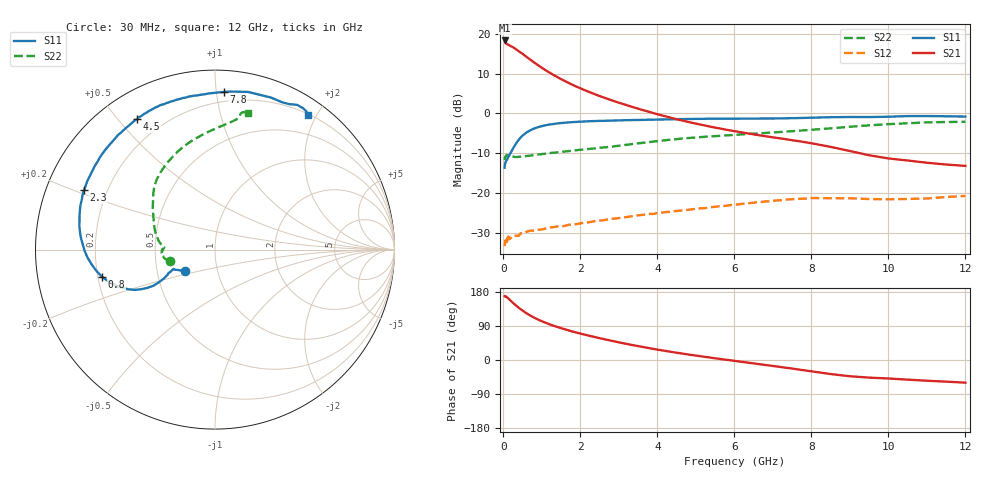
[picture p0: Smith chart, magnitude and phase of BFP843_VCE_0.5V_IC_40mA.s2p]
! Infineon Technologies  Discrete & RF Semiconductors
! BFP843
! VCE =  0.5 V,  IC =  40 mA
! Common Emitter S-Parameters:  Aug 2013
# GHz  S  MA  R  50
!  f  S11  S21  S12  S22
! GHz  MAG  ANG  MAG  ANG  MAG  ANG  MAG  ANG
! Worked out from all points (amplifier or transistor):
!   103 points, 30 MHz to 12 GHz, reference 50 ohm
!   highest |S21| = 18.4 dB at 30 MHz (marker M1)
!   |S21| within 3 dB of that: start of sweep to 441.9 MHz
!   unconditionally stable (mu >= 1): start of sweep to end of sweep
!   at 400 MHz: K = 2.21, MAG = 17.0 dB, |S12| = -30.8 dB
!   at 3.7 GHz: K = 2.43, MAG = 6.3 dB, |S12| = -25.4 dB
!   at 12 GHz: K = 2.13, MAG = -2.3 dB, |S12| = -20.8 dB
!   S11 on the Smith chart (normalised r, x): 30 MHz: 0.69, -0.17; 800 MHz: 0.22, -0.11; 2.3 GHz: 0.12, +0.21; 4.5 GHz: 0.11, +0.56; 7.8 GHz: 0.14, +1.05; 12 GHz: 0.21, +1.89
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0.03  0.2076 -144.8  8.295 168.5  0.0214 27.2  0.26 -165.9
0.04  0.2277 -149.6  7.989 167.9  0.0231 22.9  0.2788 -168.7
0.05  0.2381 -151.6  7.827 168.5  0.0251 20.6  0.2878 -170.9
0.07  0.2534 -154.8  7.56 167.2  0.0276 19.3  0.2947 -174.1
0.25  0.3636 -149.7  6.808 150.4  0.0291 13.4  0.286 178.6
0.4  0.468 -151.8  6.058 137.6  0.029 14.5  0.2852 177.4
0.5  0.5286 -155.2  5.609 130.1  0.0308 14.4  0.2872 177.3
0.6  0.5766 -158.9  5.155 123.2  0.0325 15.9  0.2918 176.6
0.8  0.6473 -166.4  4.376 111.7  0.0336 15.5  0.2992 175.1
1  0.6931 -173.3  3.753 102.3  0.0348 16.4  0.3084 173.1
1.3  0.7377 177.7  3.053 90.5  0.0371 17.0  0.3213 170.1
1.7  0.7719 168.0  2.415 77.9  0.0398 18.2  0.3368 165.9
2.1  0.7925 159.5  1.973 67.1  0.0425 19.1  0.353 161.7
2.3  0.8017 155.7  1.806 62.3  0.0435 18.4  0.361 159.4
3.1  0.8216 141.5  1.32 44.4  0.0492 19.0  0.3984 149.9
4.1  0.8399 126.1  0.949 25.8  0.0565 16.2  0.4553 139.2
4.5  0.8475 121.0  0.847 19.2  0.0594 15.3  0.4755 135.8
6.1  0.8602 105.7  0.589 -3.6  0.0719 8.3  0.5421 121.3
7.8  0.8794 86.9  0.438 -27.0  0.0846 -5.1  0.613 103.7
8.5  0.8975 78.2  0.38 -37.1  0.0859 -12.1  0.6505 94.8
10.5  0.9274 60.4  0.256 -51.8  0.084 -21.8  0.7536 79.6
12  0.914 55.3  0.219 -59.8  0.0917 -28.1  0.785 76.5
